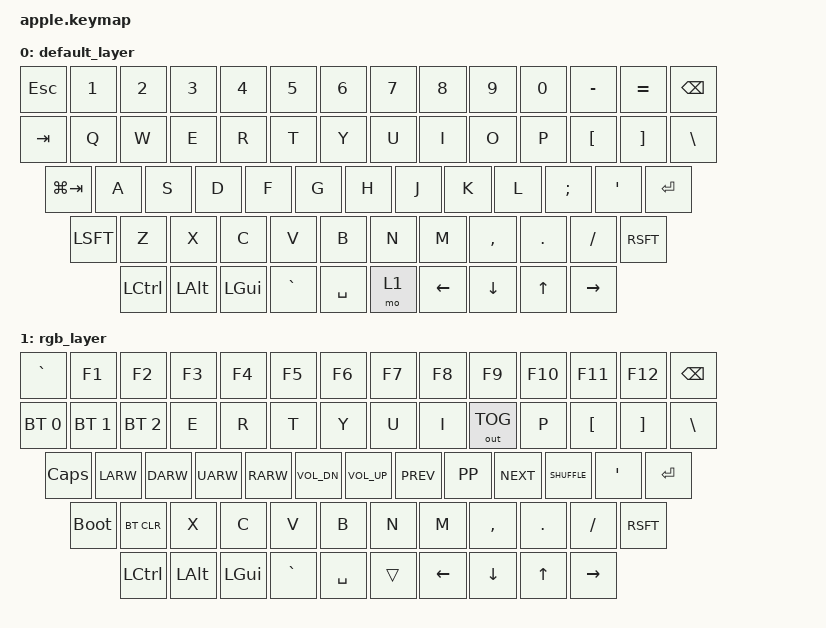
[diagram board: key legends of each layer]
#include <behaviors.dtsi>
#include <dt-bindings/zmk/keys.h>
#include <dt-bindings/zmk/rgb.h>
#include <dt-bindings/zmk/bt.h>
#include <dt-bindings/zmk/outputs.h>
#include <dt-bindings/zmk/ext_power.h>

/ {
	keymap {
		compatible = "zmk,keymap";
		
		default_layer {
// ------------------------------------------------------------------------------------------
// | ESC |  1  |  2  |  3  |  4  |  5  |  6  |  7  |  8  |  9  |  0  |  -  |  =  |   BKSP   |
// | TAB  |  Q  |  W  |  E  |  R  |  T  |  Y  |  U  |  I  |  O  |  P  |  [  |  ]  |   "|"   |
// | CAPS  |  A  |  S  |  D  |  F  |  G  |  H  |  J  |  K  |  L  |  ;  |  '  |     ENTER    |
// |  SHIFT  |  Z  |  X  |  C  |  V  |  B  |  N  |  M  |  ,  |  .  |  /  |      SHIFT       |
// |  CTL  |  WIN  |  ALT  |            SPACE              |  ALT  |  WIN  |  MO(1) |  CTL  |
// ------------------------------------------------------------------------------------------
			bindings = <
	&kp ESC &kp NUM_1 &kp NUM_2 &kp NUM_3 &kp NUM_4 &kp NUM_5 &kp NUM_6 &kp NUM_7 &kp NUM_8 &kp NUM_9 &kp NUM_0 &kp MINUS &kp EQL  &kp BKSP
	&kp TAB  &kp   Q   &kp   W   &kp   E   &kp   R   &kp   T   &kp   Y   &kp   U   &kp   I   &kp   O   &kp   P   &kp LBKT &kp RBKT &kp BSLH
	&kp LG(TAB)  &kp   A   &kp   S   &kp   D   &kp   F   &kp   G   &kp   H   &kp   J   &kp   K   &kp   L   &kp  SCLN  &kp  QUOT     &kp RET
	&kp LSFT   &kp   Z   &kp   X   &kp   C   &kp   V   &kp   B   &kp   N   &kp   M   &kp   COMMA   &kp   DOT   &kp   FSLH           &kp RSFT
	&kp LCTL &kp   LALT  &kp LGUI     &kp GRAVE                   &kp SPC           &mo 1  &kp   LEFT    &kp DOWN &kp   UP  &kp RIGHT
			>;
		};

		rgb_layer {
// ------------------------------------------------------------------------------------------
// | ESC |  1  |  2  |  3  |  4  |  5  |  6  |  7  |  8  |  9  |  0  |  -  |  =  |   BKSP   |
// | TAB  |  Q  |  W  |  E  |  R  |  T  |  Y  |  U  |  I  |  O  |  P  |  [  |  ]  |   "|"   |
// | CAPS  |  A  |  S  |  D  |  F  |  G  |  H  |  J  |  K  |  L  |  ;  |  '  |     ENTER    |
// |  SHIFT  |  Z  |  X  |  C  |  V  |  B  |  N  |  M  |  ,  |  .  |  /  |      SHIFT       |
// |  CTL  |  WIN  |  ALT  |            SPACE              |  ALT  |  WIN  |  MENU  |  CTL  |
// ------------------------------------------------------------------------------------------
			bindings = <
	&kp GRAV &kp F1 &kp F2 &kp F3 &kp F4 &kp F5 &kp F6 &kp F7 &kp F8 &kp F9 &kp F10 &kp F11 &kp F12 &kp BKSP
	&bt BT_SEL 0  &bt BT_SEL 1 &bt BT_SEL 2  &kp E &kp R &kp T &kp Y &kp U &kp I &out OUT_TOG &kp P &kp LBKT &kp RBKT &kp BSLH 
	&kp  CLCK &kp LARW  &kp DARW  &kp UARW &kp RARW &kp C_VOL_DN &kp C_VOL_UP &kp K_PREV &kp K_PP  &kp K_NEXT  &kp  C_SHUFFLE &kp QUOT &kp RET
	&bootloader &bt BT_CLR &kp X &kp C &kp V &kp B &kp N &kp M &kp COMMA &kp DOT &kp FSLH &kp RSFT
	&kp LCTL &kp   LALT  &kp LGUI     &kp GRAVE          &kp SPC      &trans &kp   LEFT    &kp DOWN &kp UP &kp RIGHT
			>;
		};
	};
};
